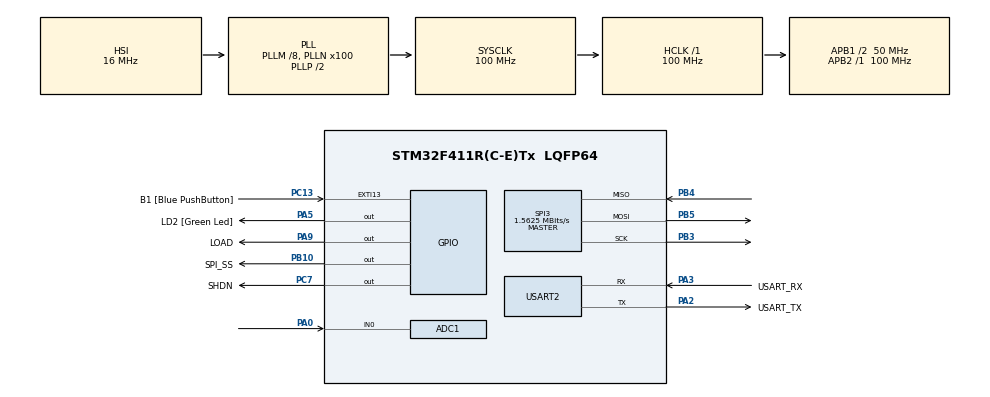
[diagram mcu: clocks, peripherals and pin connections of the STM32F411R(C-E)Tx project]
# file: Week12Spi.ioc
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Mcu.Family=STM32F4
PB10.PinState=GPIO_PIN_SET
RCC.CortexFreq_Value=100000000
SPI3.Direction=SPI_DIRECTION_2LINES
SPI3.VirtualType=VM_MASTER
ADC1.ContinuousConvMode=DISABLE
PA14.GPIO_Label=TCK
RCC.SYSCLKSource=RCC_SYSCLKSOURCE_PLLCLK
ProjectManager.StackSize=0x400
NVIC.ADC_IRQn=true\:0\:0\:false\:false\:true\:true\:true
PH0\ -\ OSC_IN.Signal=RCC_OSC_IN
RCC.HCLKFreq_Value=100000000
RCC.APB2TimFreq_Value=100000000
TIM3.Period=100
Dma.ADC1.0.Direction=DMA_PERIPH_TO_MEMORY
PC7.Signal=GPIO_Output
NVIC.DMA2_Stream0_IRQn=true\:0\:0\:false\:false\:true\:false\:true
Dma.ADC1.0.MemDataAlignment=DMA_MDATAALIGN_HALFWORD
RCC.AHBFreq_Value=100000000
SPI3.DataSize=SPI_DATASIZE_16BIT
NVIC.EXTI15_10_IRQn=true\:0\:0\:false\:false\:true\:true\:true
ADC1.Channel-0\#ChannelRegularConversion=ADC_CHANNEL_0
NVIC.TIM1_TRG_COM_TIM11_IRQn=true\:0\:0\:false\:false\:true\:true\:true
RCC.HSE_VALUE=8000000
PB3.Mode=Full_Duplex_Master
ADC1.ScanConvMode=ENABLE
PC13-ANTI_TAMP.Signal=GPXTI13
PB4.Mode=Full_Duplex_Master
PC14-OSC32_IN.Mode=LSE-External-Oscillator
PA14.Mode=Serial_Wire
TIM3.Prescaler=100
Dma.ADC1.0.PeriphInc=DMA_PINC_DISABLE
PB5.Mode=Full_Duplex_Master
PC7.PinState=GPIO_PIN_SET
SH.ADCx_IN0.0=ADC1_IN0,IN0
ADC1.SamplingTime-0\#ChannelRegularConversion=ADC_SAMPLETIME_3CYCLES
RCC.FLatency-AdvancedSettings=FLASH_LATENCY_3
Mcu.Package=LQFP64
SPI3.Mode=SPI_MODE_MASTER
USART2.VirtualMode=VM_ASYNC
PA2.GPIO_Label=USART_TX
NVIC.SPI3_IRQn=true\:0\:0\:false\:false\:true\:true\:true
RCC.APB1TimFreq_Value=100000000
Dma.ADC1.0.FIFOMode=DMA_FIFOMODE_DISABLE
Dma.Request0=ADC1
ADC1.EOCSelection=ADC_EOC_SEQ_CONV
VP_TIM3_VS_ClockSourceINT.Mode=Internal
PB4.Signal=SPI3_MISO
PA3.Signal=USART2_RX
PC15-OSC32_OUT.Mode=LSE-External-Oscillator
Dma.ADC1.0.Instance=DMA2_Stream0
ADC1.Rank-0\#ChannelRegularConversion=1
PC13-ANTI_TAMP.GPIO_Label=B1 [Blue PushButton]
PA9.GPIO_Label=LOAD
PH1\ -\ OSC_OUT.Mode=HSE-External-Clock-Source
ADC1.DiscontinuousConvMode=DISABLE
TIM11.Prescaler=100
RCC.APB1CLKDivider=RCC_HCLK_DIV2
PC14-OSC32_IN.Signal=RCC_OSC32_IN
NVIC.USART2_IRQn=true\:0\:0\:false\:false\:true\:true\:true
PA0-WKUP.Signal=ADCx_IN0
VP_TIM11_VS_ClockSourceINT.Mode=Enable_Timer
PA13.Signal=SYS_JTMS-SWDIO
PA3.Mode=Asynchronous
Dma.ADC1.0.PeriphDataAlignment=DMA_PDATAALIGN_HALFWORD
PH0\ -\ OSC_IN.Mode=HSE-External-Clock-Source
ProjectManager.TargetToolchain=STM32CubeIDE
PB10.GPIO_Label=SPI_SS
Dma.ADC1.0.Mode=DMA_CIRCULAR
Dma.ADC1.0.Priority=DMA_PRIORITY_LOW
PA9.Signal=GPIO_Output
PA9.PinState=GPIO_PIN_SET
PC15-OSC32_OUT.Signal=RCC_OSC32_OUT
PB10.Signal=GPIO_Output
PA5.Signal=GPIO_Output
PH1\ -\ OSC_OUT.Signal=RCC_OSC_OUT
board=NUCLEO-F411RE
RCC.VCOOutputFreq_Value=200000000
RCC.APB2Freq_Value=100000000
SPI3.CalculateBaudRate=1.5625 MBits/s
SPI3.BaudRatePrescaler=SPI_BAUDRATEPRESCALER_32
ADC1.DMAContinuousRequests=ENABLE
PA13.Mode=Serial_Wire
Mcu.Name=STM32F411R(C-E)Tx
PA2.Signal=USART2_TX
PA13.GPIO_Label=TMS
ADC1.ExternalTrigConv=ADC_EXTERNALTRIGCONV_T3_TRGO
PC7.GPIO_Label=SHDN
RCC.48MHZClocksFreq_Value=50000000
PB3.Signal=SPI3_SCK
RCC.SYSCLKFreq_VALUE=100000000
PB5.Signal=SPI3_MOSI
ADC1.master=1
PA5.GPIO_Label=LD2 [Green Led]
PC13-ANTI_TAMP.GPIO_ModeDefaultEXTI=GPIO_MODE_IT_FALLING
PA14.Signal=SYS_JTCK-SWCLK
Dma.ADC1.0.MemInc=DMA_MINC_ENABLE
ProjectManager.HeapSize=0x200
RCC.HSI_VALUE=16000000
NVIC.PriorityGroup=NVIC_PRIORITYGROUP_0
ADC1.NbrOfConversionFlag=1
RCC.PLLM=8
RCC.PLLN=100
PA2.Mode=Asynchronous
TIM3.TIM_MasterOutputTrigger=TIM_TRGO_UPDATE
RCC.APB1Freq_Value=50000000
PA3.GPIO_Label=USART_RX

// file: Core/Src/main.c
/* USER CODE BEGIN Header */
/**
 ******************************************************************************
 * @file           : main.c
 * @brief          : Main program body
 ******************************************************************************
 * @attention
 *
 * <h2><center>&copy; Copyright (c) 2021 STMicroelectronics.
 * All rights reserved.</center></h2>
 *
 * This software component is licensed by ST under BSD 3-Clause license,
 * the "License"; You may not use this file except in compliance with the
 * License. You may obtain a copy of the License at:
 *                        opensource.org/licenses/BSD-3-Clause
 *
 ******************************************************************************
 */
/* USER CODE END Header */
#include "main.h"

/* USER CODE BEGIN Includes */
#include <stdio.h>			// เ�?ื�?อ�?ห�?สามารถดึ�?�?ั�?�?�?�?ั�? sprintf มา�?�?�?�?ด�? >>> printf �?�?ตัว�?�?รเเท�?
#include <string.h>			// เ�?ื�?อ�?ห�?สามารถดึ�?�?ั�?�?�?�?ั�? strlen มา�?�?�?�?ด�? >>> วัด�?วามยาว string
#include <math.h>
/* USER CODE END Includes */

ADC_HandleTypeDef hadc1;
DMA_HandleTypeDef hdma_adc1;

SPI_HandleTypeDef hspi3;

TIM_HandleTypeDef htim3;
TIM_HandleTypeDef htim11;

UART_HandleTypeDef huart2;

/* USER CODE BEGIN PV */
uint16_t ADCin = 0;			//�?ระ�?าศตัวเเ�?รที�?�?�?�?เ�?�?�?�?�?า ADC _micro
uint64_t _micro = 0;
float dataOut = 0;			// �?�?อมูล 12 �?ิต ล�?า�?�?อ�? DAC
uint8_t DACConfig = 0b0011;	// �?�?อมูล 4 �?ิต �?�?�?อ�? DAC ดู�?�? datasheet �?ด�?
char RxDataBuffer[32] = { 0 };// �?ระ�?าศตัวเเ�?รรั�?�?�?า UART เเ�?�? Interrupt
char TxDataBuffer[32] = { 0 };
int state = 10;
float freq = 1;
float Vmax = 3.3;
float Vmin = 0;
int slope = 0;
int dutyCycle = 50;
int cycle = 0;
uint16_t wave = 0;
uint64_t timestamp2 = 0;
enum _StateDisplay {
	StateDisplay_Menu = 10,
	StateDisplay_Menu2 = 11,
	StateDisplay_WaitInput = 15,
	StateDisplay_WaitInput2 = 16,
	StateDisplay_Sawtooth = 20,
	StateDisplay_SineWave = 30,
	StateDisplay_SquareWave = 40,
};
/* USER CODE END PV */

void SystemClock_Config(void);
static void MX_GPIO_Init(void);
static void MX_DMA_Init(void);
static void MX_USART2_UART_Init(void);
static void MX_SPI3_Init(void);
static void MX_ADC1_Init(void);
static void MX_TIM3_Init(void);
static void MX_TIM11_Init(void);
/* USER CODE BEGIN PFP */
void MCP4922SetOutput(uint8_t Config, uint16_t DACOutput);
int16_t UARTRecieveIT();
uint64_t micros();
/* USER CODE END PFP */

int main(void) {

	/* MCU Configuration--------------------------------------------------------*/

	/* Reset of all peripherals, Initializes the Flash interface and the Systick. */
	HAL_Init();

	/* Configure the system clock */
	SystemClock_Config();

	/* Initialize all configured peripherals */
	MX_GPIO_Init();
	MX_DMA_Init();
	MX_USART2_UART_Init();
	MX_SPI3_Init();
	MX_ADC1_Init();
	MX_TIM3_Init();
	MX_TIM11_Init();
	/* USER CODE BEGIN 2 */
	HAL_TIM_Base_Start(&htim3);
	HAL_TIM_Base_Start_IT(&htim11);
	HAL_ADC_Start_DMA(&hadc1, (uint32_t*) &ADCin, 1);

	HAL_GPIO_WritePin(LOAD_GPIO_Port, LOAD_Pin, GPIO_PIN_RESET);

	//char temp[]="HELLO WORLD\r\n please type something to test UART\r\n"; 	// ตัวอย�?า�?�?ารเ�?ีย�?�?�?อ�?วามเเ�?�? Array
	//HAL_UART_Transmit/*_IT*/(&huart2, (uint8_t*)temp, strlen(temp),1000);

	/* USER CODE END 2 */

	/* Infinite loop */
	/* USER CODE BEGIN WHILE */
	while (1) {
		static uint64_t timestamp = 0;

		HAL_UART_Receive_IT(&huart2, (uint8_t*) RxDataBuffer, 32);
		int16_t inputchar = UARTRecieveIT();
		if (inputchar != -1) {
			sprintf(TxDataBuffer, "ReceivedChar:[%c]\r\n", inputchar);
			HAL_UART_Transmit(&huart2, (uint8_t*) TxDataBuffer,
					strlen(TxDataBuffer), 1000);
		}
		switch (state) {
		case StateDisplay_Menu: {
			char text[] =
					"press button\r\n a. Sawtooth\r\n s. SineWave\r\n d. Squarewave\r\n q. Back to Menu1\r\n";
			HAL_UART_Transmit(&huart2, (uint8_t*) text, strlen(text), 1000);
			state = 15;
		}
			break;
		case StateDisplay_WaitInput: {
			if (inputchar == 'a') {
				char text[] = "Sawtooth\r\n";
				HAL_UART_Transmit(&huart2, (uint8_t*) text, strlen(text), 1000);
				state = 20;
			} else if (inputchar == 's') {
				char text[] = "SineWave\r\n";
				HAL_UART_Transmit(&huart2, (uint8_t*) text, strlen(text), 1000);
				state = 30;
			}

			else if (inputchar == 'd') {
				char text[] = "SquareWave\r\n";
				HAL_UART_Transmit(&huart2, (uint8_t*) text, strlen(text), 1000);
				state = 40;
			} else if (inputchar == 'q') {
				char text[] = "Back to Menu\r\n";
				HAL_UART_Transmit(&huart2, (uint8_t*) text, strlen(text), 1000);
				state = 10;
			} else if (inputchar == -1) {

			} else {
				char text[] = "Error\r\n";
				HAL_UART_Transmit(&huart2, (uint8_t*) text, strlen(text), 1000);
				state = 10;
			}
		}
			break;
		case StateDisplay_Sawtooth: {
			wave = 1;
			state = 11;
		}
			break;
		case StateDisplay_SineWave: {
			wave = 2;
			state = 11;
		}
			break;
		case StateDisplay_SquareWave: {
			wave = 3;
			state = 11;
		}
			break;
		case StateDisplay_Menu2: {
			char text[] =
					"press button\r\n z. + freq\r\n x. - freq\r\n c. + Vmax\r\n v. - Vmax\r\n w. + Vmin\r\n e. - Vmin\r\n b. + Slope\r\n n. - Slope\r\n m. + Duty\r\n , . - Duty\r\n / . Back to Menu1\r\n";
			HAL_UART_Transmit(&huart2, (uint8_t*) text, strlen(text), 1000);
			state = 16;
		}
			break;
		case StateDisplay_WaitInput2: {
			if (inputchar == 'z') {
				char text[] = "+ freqq\r\n";
				HAL_UART_Transmit(&huart2, (uint8_t*) text, strlen(text), 1000);
				freq += 0.1;
				state = 11;
			} else if (inputchar == 'x') {
				char text[] = "- freqq\r\n";
				HAL_UART_Transmit(&huart2, (uint8_t*) text, strlen(text), 1000);
				freq -= 0.1;
				state = 11;
			}

			else if (inputchar == 'c') {
				char text[] = "+ Vmax\r\n";
				HAL_UART_Transmit(&huart2, (uint8_t*) text, strlen(text), 1000);
				if (Vmax < 3.3) {
					Vmax += 0.1;
				}
				state = 11;
			} else if (inputchar == 'v') {
				char text[] = "- Vmax\r\n";
				HAL_UART_Transmit(&huart2, (uint8_t*) text, strlen(text), 1000);
				if (Vmax > Vmin + 0.1) {
					Vmax -= 0.1;
				}
				state = 11;
			} else if (inputchar == 'w') {
				char text[] = "+ Vmin\r\n";
				HAL_UART_Transmit(&huart2, (uint8_t*) text, strlen(text), 1000);
				if (Vmin < Vmax - 0.1) {
					Vmin += 0.1;
				}
				state = 11;
			} else if (inputchar == 'e') {
				char text[] = "- Vmin\r\n";
				HAL_UART_Transmit(&huart2, (uint8_t*) text, strlen(text), 1000);
				if (Vmin >= 0.01) {
					Vmin -= 0.1;
				}
				state = 11;
			} else if (inputchar == 'b') {
				char text[] = "+ Slope\r\n";
				HAL_UART_Transmit(&huart2, (uint8_t*) text, strlen(text), 1000);
				slope = 1;
				state = 11;
			} else if (inputchar == 'n') {
				char text[] = "- Slope\r\n";
				HAL_UART_Transmit(&huart2, (uint8_t*) text, strlen(text), 1000);
				slope = 0;
				state = 11;
			} else if (inputchar == 'm') {
				char text[] = "+ Duty\r\n";
				HAL_UART_Transmit(&huart2, (uint8_t*) text, strlen(text), 1000);
				if (dutyCycle < 100) {
					dutyCycle += 10;
				}
				state = 11;
			} else if (inputchar == ',') {
				char text[] = "- Duty\r\n";
				HAL_UART_Transmit(&huart2, (uint8_t*) text, strlen(text), 1000);
				if (dutyCycle > 0) {
					dutyCycle -= 10;
				}
				state = 11;
			} else if (inputchar == '/') {
				char text[] = "Back to Menu2\r\n";
				HAL_UART_Transmit(&huart2, (uint8_t*) text, strlen(text), 1000);
				state = 10;
			} else if (inputchar == -1) {

			} else {
				char text[] = "Error\r\n";
				HAL_UART_Transmit(&huart2, (uint8_t*) text, strlen(text), 1000);
				state = 11;
			}
		}
			break;
		}

		if (micros() - timestamp > 100) {
			timestamp = micros();
			if (wave == 1) {
				if (slope == 0) {
					dataOut = dataOut
							- (Vmax - Vmin) * freq * 0.0001 * 4095 / 3.3;
					if (dataOut <= Vmin * 4095 / 3.3) {
						dataOut = Vmax * 4095 / 3.3;
					}
				} else if (slope == 1) {
					dataOut = dataOut
							+ (Vmax - Vmin) * freq * 0.0001 * 4095 / 3.3;
					if (dataOut >= Vmax * 4095 / 3.3) {
						dataOut = Vmin * 4095 / 3.3;
					}
				}
			} else if (wave == 2) {
				dataOut = (((Vmax - Vmin) / 2)
						* sin(2*3.14 * timestamp/(float)(1000000/freq))+ (Vmax + Vmin) / 2) * 4095 / 3.3;
			} else if (wave == 3) {
				if (micros() - timestamp2 >= 1 / (freq * 100) * 1000000) {
					timestamp2 = micros();
					cycle++;
					if (cycle > dutyCycle) {
						dataOut = Vmin * 4095 / 3.3;
					} else {
						dataOut = Vmax * 4095 / 3.3;
					}
					if (cycle > 100) {
						cycle = 0;
					}
				}
			}

			if (hspi3.State == HAL_SPI_STATE_READY
					&& HAL_GPIO_ReadPin(SPI_SS_GPIO_Port, SPI_SS_Pin)
							== GPIO_PIN_SET) {
				MCP4922SetOutput(DACConfig, (uint16_t) dataOut);
			}

		}
		/* USER CODE END WHILE */

	}
}

void SystemClock_Config(void) {
	RCC_OscInitTypeDef RCC_OscInitStruct = { 0 };
	RCC_ClkInitTypeDef RCC_ClkInitStruct = { 0 };

	/** Configure the main internal regulator output voltage
	 */
	__HAL_RCC_PWR_CLK_ENABLE();
	__HAL_PWR_VOLTAGESCALING_CONFIG(PWR_REGULATOR_VOLTAGE_SCALE1);
	/** Initializes the RCC Oscillators according to the specified parameters
	 * in the RCC_OscInitTypeDef structure.
	 */
	RCC_OscInitStruct.OscillatorType = RCC_OSCILLATORTYPE_HSI;
	RCC_OscInitStruct.HSIState = RCC_HSI_ON;
	RCC_OscInitStruct.HSICalibrationValue = RCC_HSICALIBRATION_DEFAULT;
	RCC_OscInitStruct.PLL.PLLState = RCC_PLL_ON;
	RCC_OscInitStruct.PLL.PLLSource = RCC_PLLSOURCE_HSI;
	RCC_OscInitStruct.PLL.PLLM = 8;
	RCC_OscInitStruct.PLL.PLLN = 100;
	RCC_OscInitStruct.PLL.PLLP = RCC_PLLP_DIV2;
	RCC_OscInitStruct.PLL.PLLQ = 4;
	if (HAL_RCC_OscConfig(&RCC_OscInitStruct) != HAL_OK) {
		Error_Handler();
	}
	/** Initializes the CPU, AHB and APB buses clocks
	 */
	RCC_ClkInitStruct.ClockType = RCC_CLOCKTYPE_HCLK | RCC_CLOCKTYPE_SYSCLK
			| RCC_CLOCKTYPE_PCLK1 | RCC_CLOCKTYPE_PCLK2;
	RCC_ClkInitStruct.SYSCLKSource = RCC_SYSCLKSOURCE_PLLCLK;
	RCC_ClkInitStruct.AHBCLKDivider = RCC_SYSCLK_DIV1;
	RCC_ClkInitStruct.APB1CLKDivider = RCC_HCLK_DIV2;
	RCC_ClkInitStruct.APB2CLKDivider = RCC_HCLK_DIV1;

	if (HAL_RCC_ClockConfig(&RCC_ClkInitStruct, FLASH_LATENCY_3) != HAL_OK) {
		Error_Handler();
	}
}

static void MX_ADC1_Init(void) {

	ADC_ChannelConfTypeDef sConfig = { 0 };

	/** Configure the global features of the ADC (Clock, Resolution, Data Alignment and number of conversion)
	 */
	hadc1.Instance = ADC1;
	hadc1.Init.ClockPrescaler = ADC_CLOCK_SYNC_PCLK_DIV4;
	hadc1.Init.Resolution = ADC_RESOLUTION_12B;
	hadc1.Init.ScanConvMode = ENABLE;
	hadc1.Init.ContinuousConvMode = DISABLE;
	hadc1.Init.DiscontinuousConvMode = DISABLE;
	hadc1.Init.ExternalTrigConvEdge = ADC_EXTERNALTRIGCONVEDGE_RISING;
	hadc1.Init.ExternalTrigConv = ADC_EXTERNALTRIGCONV_T3_TRGO;
	hadc1.Init.DataAlign = ADC_DATAALIGN_RIGHT;
	hadc1.Init.NbrOfConversion = 1;
	hadc1.Init.DMAContinuousRequests = ENABLE;
	hadc1.Init.EOCSelection = ADC_EOC_SEQ_CONV;
	if (HAL_ADC_Init(&hadc1) != HAL_OK) {
		Error_Handler();
	}
	/** Configure for the selected ADC regular channel its corresponding rank in the sequencer and its sample time.
	 */
	sConfig.Channel = ADC_CHANNEL_0;
	sConfig.Rank = 1;
	sConfig.SamplingTime = ADC_SAMPLETIME_3CYCLES;
	if (HAL_ADC_ConfigChannel(&hadc1, &sConfig) != HAL_OK) {
		Error_Handler();
	}

}

static void MX_SPI3_Init(void) {

	/* SPI3 parameter configuration*/
	hspi3.Instance = SPI3;
	hspi3.Init.Mode = SPI_MODE_MASTER;
	hspi3.Init.Direction = SPI_DIRECTION_2LINES;
	hspi3.Init.DataSize = SPI_DATASIZE_16BIT;
	hspi3.Init.CLKPolarity = SPI_POLARITY_LOW;
	hspi3.Init.CLKPhase = SPI_PHASE_1EDGE;
	hspi3.Init.NSS = SPI_NSS_SOFT;
	hspi3.Init.BaudRatePrescaler = SPI_BAUDRATEPRESCALER_32;
	hspi3.Init.FirstBit = SPI_FIRSTBIT_MSB;
	hspi3.Init.TIMode = SPI_TIMODE_DISABLE;
	hspi3.Init.CRCCalculation = SPI_CRCCALCULATION_DISABLE;
	hspi3.Init.CRCPolynomial = 10;
	if (HAL_SPI_Init(&hspi3) != HAL_OK) {
		Error_Handler();
	}

}

static void MX_TIM3_Init(void) {

	TIM_ClockConfigTypeDef sClockSourceConfig = { 0 };
	TIM_MasterConfigTypeDef sMasterConfig = { 0 };

	htim3.Instance = TIM3;
	htim3.Init.Prescaler = 100;
	htim3.Init.CounterMode = TIM_COUNTERMODE_UP;
	htim3.Init.Period = 100;
	htim3.Init.ClockDivision = TIM_CLOCKDIVISION_DIV1;
	htim3.Init.AutoReloadPreload = TIM_AUTORELOAD_PRELOAD_DISABLE;
	if (HAL_TIM_Base_Init(&htim3) != HAL_OK) {
		Error_Handler();
	}
	sClockSourceConfig.ClockSource = TIM_CLOCKSOURCE_INTERNAL;
	if (HAL_TIM_ConfigClockSource(&htim3, &sClockSourceConfig) != HAL_OK) {
		Error_Handler();
	}
	sMasterConfig.MasterOutputTrigger = TIM_TRGO_UPDATE;
	sMasterConfig.MasterSlaveMode = TIM_MASTERSLAVEMODE_DISABLE;
	if (HAL_TIMEx_MasterConfigSynchronization(&htim3, &sMasterConfig)
			!= HAL_OK) {
		Error_Handler();
	}

}

static void MX_TIM11_Init(void) {

	htim11.Instance = TIM11;
	htim11.Init.Prescaler = 100;
	htim11.Init.CounterMode = TIM_COUNTERMODE_UP;
	htim11.Init.Period = 65535;
	htim11.Init.ClockDivision = TIM_CLOCKDIVISION_DIV1;
	htim11.Init.AutoReloadPreload = TIM_AUTORELOAD_PRELOAD_DISABLE;
	if (HAL_TIM_Base_Init(&htim11) != HAL_OK) {
		Error_Handler();
	}

}

static void MX_USART2_UART_Init(void) {

	huart2.Instance = USART2;
	huart2.Init.BaudRate = 115200;
	huart2.Init.WordLength = UART_WORDLENGTH_8B;
	huart2.Init.StopBits = UART_STOPBITS_1;
	huart2.Init.Parity = UART_PARITY_NONE;
	huart2.Init.Mode = UART_MODE_TX_RX;
	huart2.Init.HwFlowCtl = UART_HWCONTROL_NONE;
	huart2.Init.OverSampling = UART_OVERSAMPLING_16;
	if (HAL_UART_Init(&huart2) != HAL_OK) {
		Error_Handler();
	}

}

static void MX_DMA_Init(void) {

	/* DMA controller clock enable */
	__HAL_RCC_DMA2_CLK_ENABLE();

	/* DMA interrupt init */
	/* DMA2_Stream0_IRQn interrupt configuration */
	HAL_NVIC_SetPriority(DMA2_Stream0_IRQn, 0, 0);
	HAL_NVIC_EnableIRQ(DMA2_Stream0_IRQn);

}

static void MX_GPIO_Init(void) {
	GPIO_InitTypeDef GPIO_InitStruct = { 0 };

	/* GPIO Ports Clock Enable */
	__HAL_RCC_GPIOC_CLK_ENABLE();
	__HAL_RCC_GPIOH_CLK_ENABLE();
	__HAL_RCC_GPIOA_CLK_ENABLE();
	__HAL_RCC_GPIOB_CLK_ENABLE();

	/*Configure GPIO pin Output Level */
	HAL_GPIO_WritePin(LD2_GPIO_Port, LD2_Pin, GPIO_PIN_RESET);

	/*Configure GPIO pin Output Level */
	HAL_GPIO_WritePin(SPI_SS_GPIO_Port, SPI_SS_Pin, GPIO_PIN_SET);

	/*Configure GPIO pin Output Level */
	HAL_GPIO_WritePin(SHDN_GPIO_Port, SHDN_Pin, GPIO_PIN_SET);

	/*Configure GPIO pin Output Level */
	HAL_GPIO_WritePin(LOAD_GPIO_Port, LOAD_Pin, GPIO_PIN_SET);

	/*Configure GPIO pin : B1_Pin */
	GPIO_InitStruct.Pin = B1_Pin;
	GPIO_InitStruct.Mode = GPIO_MODE_IT_FALLING;
	GPIO_InitStruct.Pull = GPIO_NOPULL;
	HAL_GPIO_Init(B1_GPIO_Port, &GPIO_InitStruct);

	/*Configure GPIO pins : LD2_Pin LOAD_Pin */
	GPIO_InitStruct.Pin = LD2_Pin | LOAD_Pin;
	GPIO_InitStruct.Mode = GPIO_MODE_OUTPUT_PP;
	GPIO_InitStruct.Pull = GPIO_NOPULL;
	GPIO_InitStruct.Speed = GPIO_SPEED_FREQ_LOW;
	HAL_GPIO_Init(GPIOA, &GPIO_InitStruct);

	/*Configure GPIO pin : SPI_SS_Pin */
	GPIO_InitStruct.Pin = SPI_SS_Pin;
	GPIO_InitStruct.Mode = GPIO_MODE_OUTPUT_PP;
	GPIO_InitStruct.Pull = GPIO_NOPULL;
	GPIO_InitStruct.Speed = GPIO_SPEED_FREQ_LOW;
	HAL_GPIO_Init(SPI_SS_GPIO_Port, &GPIO_InitStruct);

	/*Configure GPIO pin : SHDN_Pin */
	GPIO_InitStruct.Pin = SHDN_Pin;
	GPIO_InitStruct.Mode = GPIO_MODE_OUTPUT_PP;
	GPIO_InitStruct.Pull = GPIO_NOPULL;
	GPIO_InitStruct.Speed = GPIO_SPEED_FREQ_LOW;
	HAL_GPIO_Init(SHDN_GPIO_Port, &GPIO_InitStruct);

	/* EXTI interrupt init*/
	HAL_NVIC_SetPriority(EXTI15_10_IRQn, 0, 0);
	HAL_NVIC_EnableIRQ(EXTI15_10_IRQn);

}

/* USER CODE BEGIN 4 */
void MCP4922SetOutput(uint8_t Config, uint16_t DACOutput) {
	uint32_t OutputPacket = (DACOutput & 0x0fff) | ((Config & 0xf) << 12);
	HAL_GPIO_WritePin(SPI_SS_GPIO_Port, SPI_SS_Pin, GPIO_PIN_RESET);
	HAL_SPI_Transmit_IT(&hspi3, &OutputPacket, 1);
}

void HAL_SPI_TxCpltCallback(SPI_HandleTypeDef *hspi) {
	if (hspi == &hspi3) {
		HAL_GPIO_WritePin(SPI_SS_GPIO_Port, SPI_SS_Pin, GPIO_PIN_SET);
	}
}

void HAL_TIM_PeriodElapsedCallback(TIM_HandleTypeDef *htim) {
	if (htim == &htim11) {
		_micro += 65535;
	}
}

int16_t UARTRecieveIT() {
	static uint32_t dataPos = 0;
	int16_t data = -1;
	if (huart2.RxXferSize - huart2.RxXferCount != dataPos) {
		data = RxDataBuffer[dataPos];
		dataPos = (dataPos + 1) % huart2.RxXferSize;
	}
	return data;
}

inline uint64_t micros() {
	return htim11.Instance->CNT + _micro;
}
/* USER CODE END 4 */

void Error_Handler(void) {
	__disable_irq();
	while (1) {
	}
}

/************************ (C) COPYRIGHT STMicroelectronics *****END OF FILE****/
